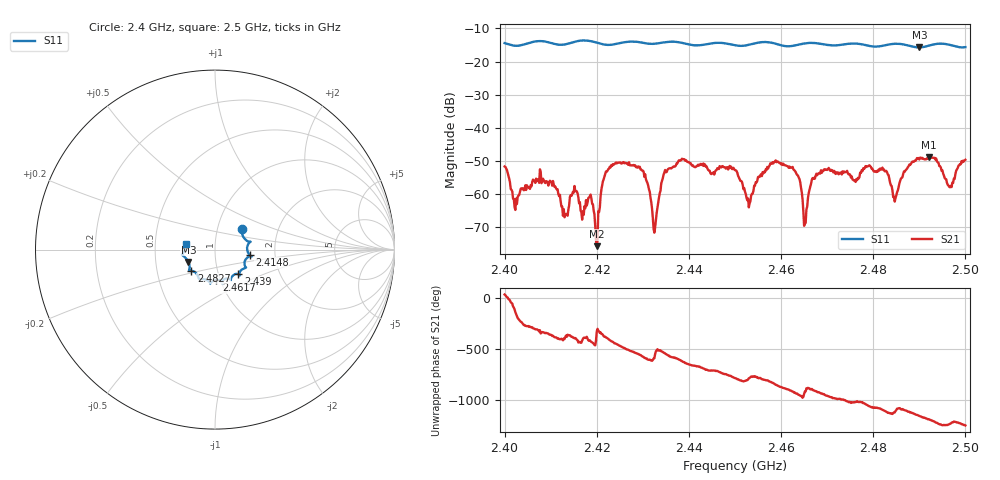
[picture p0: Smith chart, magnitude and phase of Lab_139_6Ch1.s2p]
# Hz S RI R 50
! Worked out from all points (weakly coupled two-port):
!   601 points, 2.4 GHz to 2.5 GHz, reference 50 ohm
!   highest |S21| = -48.83 dB at 2.4922 GHz (marker M1); lowest = -75.8 dB at 2.42 GHz (marker M2)
!   lowest |S11| = -15.7 dB at 2.49 GHz (marker M3), VSWR 1.39, Z = 36.8 - j5.23 ohm
!   |S11| at or under -10 dB: start of sweep to end of sweep
!   S12 and S22 are empty: the file has one direction only
!   S11 on the Smith chart (normalised r, x): 2.4 GHz: 1.31, +0.31; 2.4148 GHz: 1.47, -0.09; 2.439 GHz: 1.24, -0.35; 2.4617 GHz: 0.96, -0.34; 2.4827 GHz: 0.75, -0.18; 2.5 GHz: 0.72, +0.05
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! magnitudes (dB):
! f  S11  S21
! 2.4 GHz  -14.4  -51.7
! 2.4023 GHz  -15.3  -64.9
! 2.4148 GHz  -14.2  -59.4
! 2.4167 GHz  -13.7  -65.6
! 2.4187 GHz  -13.8  -60.2
! 2.42 GHz  -14.3  -75.8
! 2.4215 GHz  -14.8  -55.6
! 2.424 GHz  -14.7  -50.7
! 2.4333 GHz  -14.5  -62.7
! 2.439 GHz  -14.5  -49.5
! 2.45 GHz  -15.1  -52.8
! 2.453 GHz  -15.0  -64.1
! 2.4617 GHz  -15.4  -52.1
! 2.4652 GHz  -14.5  -69.0
! 2.4667 GHz  -14.4  -55.8
! 2.4827 GHz  -15.1  -53.1
! 2.4833 GHz  -14.9  -54.4
! 2.4848 GHz  -14.6  -61.3
! 2.49 GHz  -15.7  -49.6
! 2.4922 GHz  -15.2  -48.8
! 2.4965 GHz  -14.9  -57.9
! 2.5 GHz  -15.7  -49.7
